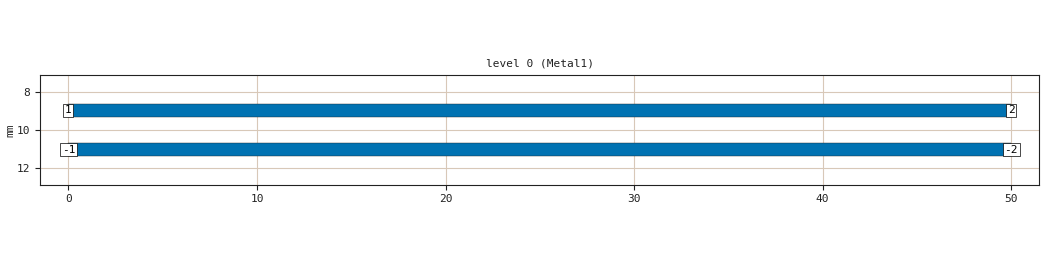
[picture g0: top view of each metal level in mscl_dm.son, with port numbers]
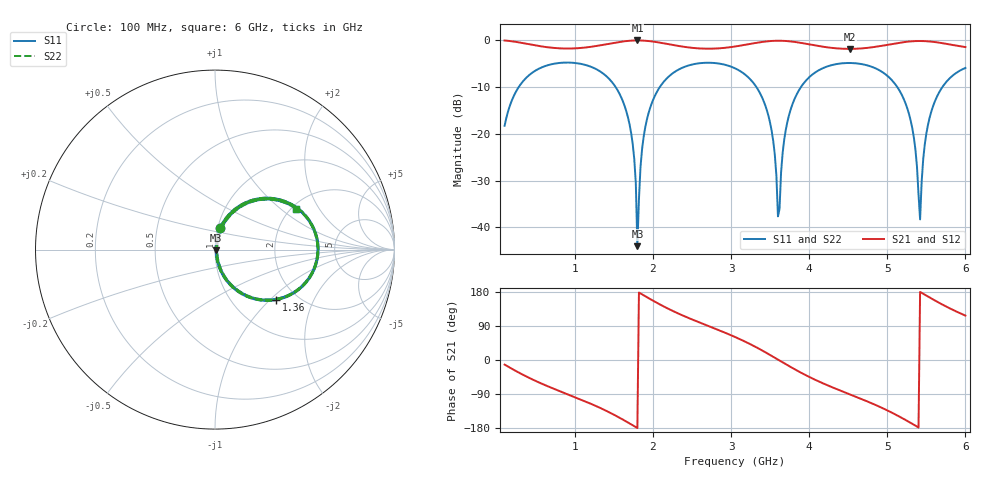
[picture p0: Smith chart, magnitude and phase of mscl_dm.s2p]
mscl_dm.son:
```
FTYP SONPROJ 19 ! Sonnet Project File
VER 18.53
HEADER
LIC SL63cb3875
DAT 09/16/2023 12:22:22
BUILT_BY_CREATED xgeom 18.53-Lite 09/16/2023 12:12:36
BUILT_BY_SAVED sonnet 18.53-Lite
MDATE 09/16/2023 12:22:22
HDATE 09/16/2023 12:22:22
END HEADER
DIM
ANG DEG
CAP PF
CON /OH
FREQ GHZ
IND NH
LNG MM
RES OH
END DIM
CONTROL
VARSWP
OPTIONS  -d
SPEED 0
CACHE_ABS 2
Q_ACC N
END CONTROL
GEO
TMET "Free Space" 0 FREESPACE 376.7303136 0 0 0
BMET "Lossless" 0 SUP 0 0 0 0
BOX 1 50 20 1000 400 20 0
      10 1 1 0 0 0 0 "Air"
      0.3 3.6 1 0.004 0 0 0 "R-5775KH"
TECHLAY METAL Metal1 <UNSPECIFIED> -2 -65534 
0 0 -1 N 9 1 1 100 100 0 0 0 Y
END
END
LORGN 0 20 U 
POR1 BOX
POLY 23 1
3
1 50 0 0 0 2.143131899e-17 8.95 
POR1 BOX
POLY 23 1
1
2 50 0 0 0 50 8.95 
POR1 BOX
POLY 24 1
3
-1 50 0 0 0 0 11.05 
POR1 BOX
POLY 24 1
1
-2 50 0 0 0 50 11.05 
NUM 2
0 5 -1 N 23 1 1 100 100 0 0 0 Y
TLAYNAM Metal1 INH
0 8.6
50 8.6
50 9.3
4.286263797e-17 9.3
0 8.6
END
0 5 -1 N 24 1 1 100 100 0 0 0 Y
TLAYNAM Metal1 INH
0 10.7
50 10.7
50 11.4
0 11.4
0 10.7
END
END GEO
OPT
MAX 100
END OPT
VARSWP
ENABLED Y
FREQ Y AY ABS_ENTRY 0.1 6.0 -1 300 
END
END VARSWP
```
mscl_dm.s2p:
! Sonnet Data File
! From: sonnet Version : 18.53-Lite
! From Emgraph Data:
! Data File Written: 09/16/2023 12:22:57
!< HDATE 09/16/2023 12:22:22
!< MDATE 09/16/2023 12:22:22
# GHZ S MA R 50.00000
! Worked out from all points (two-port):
!   296 points, 100 MHz to 6 GHz, reference 50 ohm
!   highest |S21| = -0.06 dB at 1.8 GHz (marker M1); lowest = -1.9 dB at 4.52 GHz (marker M2)
!   |S21| within 3 dB of the highest: start of sweep to end of sweep
!   lowest |S11| = -44.0 dB at 1.8 GHz (marker M3), VSWR 1.01, Z = 50.4 - j0.497 ohm
!   |S11| at or under -10 dB: 1.521 GHz to 2.088 GHz (567.1 MHz wide, 31.4 % of centre); 3.323 GHz to 3.895 GHz (572.2 MHz wide, 15.9 % of centre); 5.127 GHz to 5.706 GHz (579.2 MHz wide, 10.7 % of centre)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
!   |S22| runs from -44.0 to -4.8 dB; largest |S21 - S12| = 2.4e-12
!   S11 on the Smith chart (normalised r, x): 100 MHz: 1.02, +0.25; 1.36 GHz: 1.57, -1.09; 6 GHz: 2.11, +1.29
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0.1  0.1219 77.9  0.9924 -12.2  0.9924 -12.2  0.1219 77.9
1.36  0.4415 -39.6  0.8921 -130.0  0.8921 -130.0  0.4415 -39.6
1.7  0.1259 -75.6  0.9855 -167.4  0.9855 -167.4  0.1259 -75.6
1.8  0.006306 -51.4  0.9933 -179.5  0.9933 -179.5  0.006309 -51.4
2.06  0.29 59.1  0.9501 149.7  0.9501 149.7  0.2901 59.1
3.06  0.4964 -29.6  0.8584 59.9  0.8584 59.9  0.4954 -29.6
3.6  0.01313 -52.7  0.9866 1.1  0.9866 1.1  0.0131 -52.9
4.52  0.5708 -0.5  0.8074 -90.7  0.8074 -90.7  0.5708 -0.5
5.2  0.2463 -61.9  0.9502 -154.4  0.9502 -154.4  0.2463 -61.8
5.42  0.01219 21.9  0.98 179.6  0.98 179.6  0.01252 21.3
6  0.5051 26.7  0.8445 117.1  0.8445 117.1  0.5052 26.6
